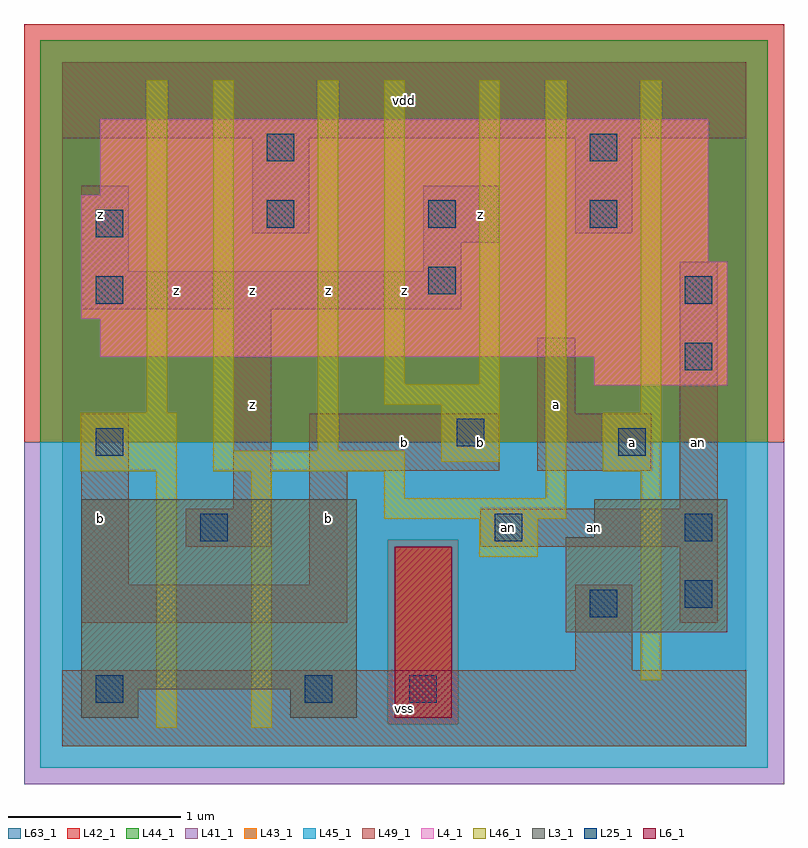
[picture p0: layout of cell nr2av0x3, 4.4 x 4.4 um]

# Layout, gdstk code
import gdstk
lib = gdstk.Library(unit=1e-6, precision=1e-09)
def R(c, l, rs):  # rectangles x0, y0, x1, y1
    for r in rs: c.add(gdstk.rectangle(r[:2], r[2:], *l))
def A(c, l, x, y, w, h, nx, ny, dx, dy):  # array of equal rectangles
    R(c, l, [(x+i*dx, y+j*dy, x+i*dx+w, y+j*dy+h) for i in range(nx) for j in range(ny)])
L3_1 = (3, 1)
L4_1 = (4, 1)
L6_1 = (6, 1)
L25_1 = (25, 1)
L41_1 = (41, 1)
L42_1 = (42, 1)
L43_1 = (43, 1)
L44_1 = (44, 1)
L45_1 = (45, 1)
L46_1 = (46, 1)
L49_1 = (49, 1)
L63_1 = (63, 1)

nr2av0x3 = lib.new_cell('nr2av0x3')
R(nr2av0x3, L3_1, [(0.11,0.165,0.44,0.33), (1.32,0.165,1.705,0.33), (0.11,0.33,1.705,1.43), (2.915,0.66,3.85,1.21), (3.08,1.21,3.85,1.43)])
R(nr2av0x3, L4_1, [(3.08,2.09,3.85,2.255), (0.22,2.255,3.85,2.475), (0.11,2.475,3.85,2.805), (0.11,2.805,3.74,3.19), (0.22,3.19,3.74,3.63)])
R(nr2av0x3, L6_1, [(1.925,0.165,2.255,1.155)])
A(nr2av0x3, L25_1, 1.185, 3, 0.16, 0.16, 3, 1, 0.935, 0)
R(nr2av0x3, L25_1, [(0.195,0.25,0.355,0.41), (1.405,0.25,1.565,0.41), (2.01,0.25,2.17,0.41), (3.055,0.745,3.215,0.905), (3.605,0.8,3.765,0.96), (0.8,1.185,0.96,1.345), (2.505,1.185,2.665,1.345), (3.605,1.185,3.765,1.345), (0.195,1.68,0.355,1.84), (3.22,1.68,3.38,1.84), (2.285,1.735,2.445,1.895), (3.605,2.175,3.765,2.335), (0.195,2.56,0.355,2.72), (3.605,2.56,3.765,2.72), (2.12,2.615,2.28,2.775), (0.195,2.945,0.355,3.105), (1.185,3.385,1.345,3.545), (3.055,3.385,3.215,3.545)])
R(nr2av0x3, L41_1, [(-0.22,-0.22,4.18,1.76)])
R(nr2av0x3, L42_1, [(-0.22,1.76,4.18,4.18)])
R(nr2av0x3, L43_1, [(0.11,0.165,0.44,0.33), (1.32,0.165,1.705,0.33), (1.925,0.165,2.255,1.155), (0.11,0.33,1.705,1.43), (2.915,0.66,3.85,1.21), (3.08,1.21,3.85,1.43), (3.08,2.09,3.85,2.255), (0.22,2.255,3.85,2.475), (0.11,2.475,3.85,2.805), (0.11,2.805,3.74,3.19), (0.22,3.19,3.74,3.63)])
R(nr2av0x3, L44_1, [(1.885,0.125,2.295,1.195), (-0.125,1.76,4.085,4.085)])
R(nr2av0x3, L45_1, [(-0.125,-0.125,4.085,0.125), (-0.125,0.125,1.885,1.195), (2.295,0.125,4.085,1.195), (-0.125,1.195,4.085,1.76)])
R(nr2av0x3, L46_1, [(0.545,0.105,0.665,1.59), (1.095,0.105,1.215,1.59), (3.35,0.38,3.47,1.59), (2.415,1.095,2.755,1.315), (1.865,1.315,2.92,1.435), (1.865,1.435,1.985,1.59), (2.8,1.435,2.92,3.855), (0.105,1.59,0.665,1.93), (0.875,1.59,1.985,1.71), (3.13,1.59,3.47,1.93), (2.195,1.645,2.535,1.975), (0.875,1.71,0.995,3.855), (1.48,1.71,1.6,3.855), (0.49,1.93,0.61,3.855), (3.35,1.93,3.47,3.855), (1.865,1.975,2.535,2.095), (1.865,2.095,1.985,3.855), (2.415,2.095,2.535,3.855)])
R(nr2av0x3, L49_1, [(0,0,3.96,0.44), (2.97,0.44,3.3,0.935), (0.11,0.715,1.65,0.935), (3.575,0.715,3.795,1.155), (0.11,0.935,0.385,1.925), (1.43,0.935,1.65,1.595), (0.715,1.155,1.21,1.375), (2.42,1.155,3.795,1.375), (0.99,1.375,1.21,2.53), (3.575,1.375,3.795,2.805), (1.43,1.595,2.53,1.925), (2.75,1.595,3.41,1.925), (2.75,1.925,2.97,2.365), (0.11,2.53,2.31,2.75), (0.11,2.75,0.385,3.245), (2.09,2.75,2.31,2.915), (2.09,2.915,2.53,3.245), (1.1,2.97,1.43,3.52), (2.97,2.97,3.3,3.52), (0,3.52,3.96,3.96)])
R(nr2av0x3, L63_1, [(0,0,3.96,3.96)])
nr2av0x3.add(gdstk.Label('an', (2.585,1.265), layer=49, texttype=1))
nr2av0x3.add(gdstk.Label('b', (0.22,1.32), layer=49, texttype=1))
nr2av0x3.add(gdstk.Label('z', (0.66,2.64), layer=49, texttype=1))
nr2av0x3.add(gdstk.Label('z', (0.22,3.08), layer=49, texttype=1))
nr2av0x3.add(gdstk.Label('b', (1.54,1.32), layer=49, texttype=1))
nr2av0x3.add(gdstk.Label('z', (1.1,1.98), layer=49, texttype=1))
nr2av0x3.add(gdstk.Label('z', (1.1,2.64), layer=49, texttype=1))
nr2av0x3.add(gdstk.Label('z', (1.54,2.64), layer=49, texttype=1))
nr2av0x3.add(gdstk.Label('vss', (1.98,0.22), layer=49, texttype=1))
nr2av0x3.add(gdstk.Label('b', (1.98,1.76), layer=49, texttype=1))
nr2av0x3.add(gdstk.Label('b', (2.42,1.76), layer=49, texttype=1))
nr2av0x3.add(gdstk.Label('a', (2.86,1.98), layer=49, texttype=1))
nr2av0x3.add(gdstk.Label('z', (1.98,2.64), layer=49, texttype=1))
nr2av0x3.add(gdstk.Label('z', (2.42,3.08), layer=49, texttype=1))
nr2av0x3.add(gdstk.Label('vdd', (1.98,3.74), layer=49, texttype=1))
nr2av0x3.add(gdstk.Label('an', (3.08,1.265), layer=49, texttype=1))
nr2av0x3.add(gdstk.Label('a', (3.3,1.76), layer=49, texttype=1))
nr2av0x3.add(gdstk.Label('an', (3.685,1.76), layer=49, texttype=1))

lib.write_gds('nr2av0x3.gds')
